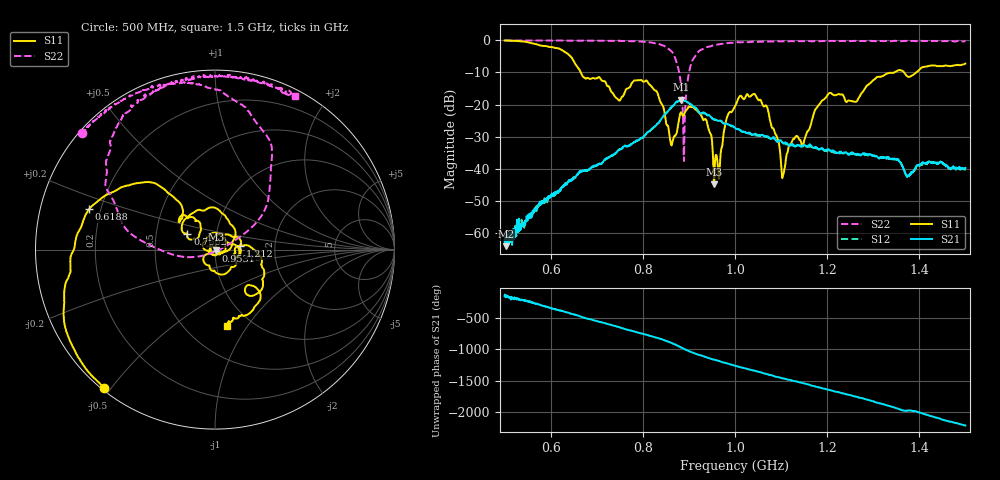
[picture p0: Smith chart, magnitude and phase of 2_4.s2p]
!Agilent Technologies,E8364B,US42250235,A.06.04.32
!Agilent E8364B: A.06.04.32
!Date: Friday, January 15, 2021 12:11:46
!Correction: S11(Full 2 Port(1,2)) S21(Full 2 Port(1,2)) S12(Full 2 Port(1,2)) S22(Full 2 Port(1,2))
!S2P File: Measurements: S11, S21, S12, S22:
# Hz S  dB  R 50
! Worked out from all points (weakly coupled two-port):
!   1601 points, 500 MHz to 1.5 GHz, reference 50 ohm
!   highest |S21| = -18.51 dB at 883.8 MHz (marker M1); lowest = -64.0 dB at 503.1 MHz (marker M2)
!   lowest |S11| = -44.8 dB at 954.4 MHz (marker M3), VSWR 1.01, Z = 50.6 - j0.0692 ohm
!   |S11| at or under -10 dB: 665.2 MHz to 1.346 GHz (681.1 MHz wide, 67.7 % of centre); 1.367 GHz to 1.394 GHz (26.77 MHz wide, 1.94 % of centre)
!   |S22| runs from -37.5 to -0.1 dB; largest |S21 - S12| = 0.0066
!   S11 on the Smith chart (normalised r, x): 500 MHz: 0.01, -0.48; 618.8 MHz: 0.16, +0.15; 766.2 MHz: 0.72, +0.13; 953.1 MHz: 1.01, -0.02; 1.212 GHz: 1.33, +0.05; 1.5 GHz: 0.77, -0.81
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5e8  -0.12 -128.8  -62.44 -155.5  -61.19 -156.4  -0.12 138.8
5.03125e8  -0.13 -130.2  -63.97 -179.7  -61.18 -171.0  -0.12 138.5
6.1875e8  -2.66 162.0  -46.73 -28.5  -46.53 -27.7  -0.16 128.3
6.66875e8  -10.52 127.8  -40.81 -130.2  -40.93 -133.0  -0.14 122.5
7.6625e8  -15.08 150.9  -32.92 26.7  -32.98 25.6  -0.28 108.7
8.3375e8  -17.27 34.2  -25.72 -107.3  -25.78 -110.1  -1.13 87.1
8.625e8  -32.71 -69.4  -20.62 176.5  -20.85 174.1  -3.52 62.1
8.8375e8  -22.53 144.9  -18.51 103.4  -18.65 100.6  -15.26 27.8
8.90625e8  -22.72 131.9  -18.84 79.1  -18.98 76.4  -26.41 -147.0
9.05e8  -20.66 85.7  -20.00 32.5  -20.19 29.7  -7.26 171.9
9.35625e8  -24.52 7.4  -22.81 -43.5  -22.81 -44.9  -2.37 142.6
9.53125e8  -39.63 -45.4  -24.56 -83.0  -24.58 -86.1  -1.59 134.6
9.54375e8  -44.78 -6.8  -24.57 -85.4  -24.67 -88.4  -1.54 134.4
9.66875e8  -39.35 85.3  -24.98 -110.7  -25.03 -114.7  -1.26 130.3
9.8125e8  -24.63 61.9  -25.93 -141.9  -26.09 -145.6  -0.97 125.9
1e9  -20.59 19.8  -27.29 176.9  -27.22 173.9  -0.78 120.9
1.0675e9  -20.30 -123.8  -29.95 49.8  -29.92 45.1  -0.49 109.8
1.104375e9  -41.85 -28.2  -32.08 -23.0  -31.84 -26.6  -0.37 105.7
1.166875e9  -24.92 102.9  -33.01 -138.7  -33.19 -140.1  -0.36 98.3
1.2125e9  -16.92 7.7  -34.38 139.9  -34.72 135.1  -0.25 93.8
1.33375e9  -10.21 -27.0  -36.46 -97.7  -36.87 -95.8  -0.26 81.5
1.5e9  -7.31 -81.2  -39.67 -46.5  -40.09 -45.9  -0.30 62.5
